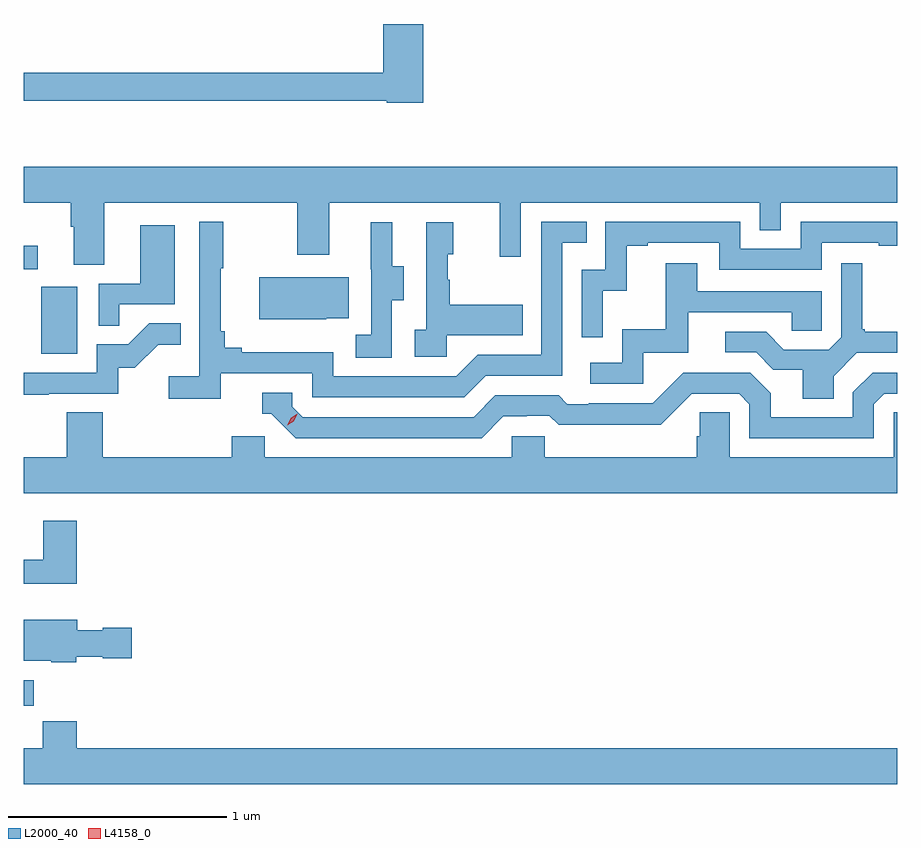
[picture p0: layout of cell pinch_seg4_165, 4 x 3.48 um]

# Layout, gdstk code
import gdstk
lib = gdstk.Library(unit=1e-6, precision=1e-09)
def R(c, l, rs):  # rectangles x0, y0, x1, y1
    for r in rs: c.add(gdstk.rectangle(r[:2], r[2:], *l))
def P(c, l, *ps):  # polygons
    for p in ps: c.add(gdstk.Polygon(p, *l))
L2000_40 = (2000, 40)
L4158_0 = (4158, 0)

pinch_seg4_165 = lib.new_cell('pinch_seg4_165')
R(pinch_seg4_165, L2000_40, [(1115.844,803.838,1115.888,803.956), (1115.924,805.452,1116.088,805.759), (1115.844,805.839,1115.908,805.945)])
P(pinch_seg4_165, L2000_40, [(1117.673,806.962),(1117.49,806.962),(1117.49,806.738),(1115.844,806.738),(1115.844,806.61),(1117.506,806.61),(1117.506,806.602),(1117.673,806.602)],
  [(1115.844,806.144),(1116.059,806.144),(1116.059,806.032),(1116.071,806.032),(1116.071,805.858),(1116.211,805.858),(1116.211,806.144),(1117.096,806.144),(1117.096,805.905),(1117.243,805.905),(1117.243,806.144),(1118.024,806.144),(1118.024,805.896),(1118.121,805.896),(1118.121,806.144),(1119.216,806.144),(1119.216,806.017),(1119.312,806.017),(1119.312,806.144),(1119.844,806.144),(1119.844,806.308),(1115.844,806.308)],
  [(1116.746,805.362),(1117.164,805.362),(1117.164,805.251),(1117.861,805.251),(1117.96,805.35),(1118.31,805.35),(1118.31,805.959),(1118.423,805.959),(1118.423,806.055),(1118.214,806.055),(1118.214,805.446),(1117.923,805.446),(1117.824,805.347),(1117.26,805.347),(1117.26,805.459),(1116.841,805.459),(1116.841,805.478),(1116.764,805.478),(1116.764,805.555),(1116.745,805.555),(1116.745,805.843),(1116.757,805.843),(1116.757,806.056),(1116.648,806.056),(1116.648,805.348),(1116.507,805.348),(1116.507,805.246),(1116.746,805.246)],
  [(1118.496,805.739),(1118.606,805.739),(1118.606,805.947),(1118.701,805.947),(1118.701,805.959),(1119.03,805.959),(1119.03,805.836),(1119.498,805.836),(1119.498,805.959),(1119.761,805.959),(1119.761,805.947),(1119.844,805.947),(1119.844,806.055),(1119.402,806.055),(1119.402,805.932),(1119.126,805.932),(1119.126,806.055),(1118.508,806.055),(1118.508,805.836),(1118.4,805.836),(1118.4,805.527),(1118.496,805.527)],
  [(1117.53,805.696),(1117.585,805.696),(1117.585,805.851),(1117.531,805.851),(1117.531,806.053),(1117.433,806.053),(1117.433,805.839),(1117.434,805.839),(1117.434,805.539),(1117.365,805.539),(1117.365,805.432),(1117.53,805.432)],
  [(1117.782,805.535),(1118.129,805.535),(1118.129,805.675),(1117.795,805.675),(1117.795,805.79),(1117.785,805.79),(1117.785,805.908),(1117.81,805.908),(1117.81,806.053),(1117.686,806.053),(1117.686,805.562),(1117.635,805.562),(1117.635,805.437),(1117.782,805.437)],
  [(1116.281,805.677),(1116.535,805.677),(1116.535,806.041),(1116.377,806.041),(1116.377,805.773),(1116.186,805.773),(1116.186,805.579),(1116.281,805.579)],
  [(1119.553,805.348),(1119.66,805.455),(1119.844,805.455),(1119.844,805.552),(1119.697,805.552),(1119.697,805.564),(1119.685,805.564),(1119.685,805.867),(1119.588,805.867),(1119.588,805.527),(1119.531,805.47),(1119.325,805.47),(1119.244,805.551),(1119.057,805.551),(1119.057,805.458),(1119.198,805.458),(1119.278,805.378),(1119.413,805.378),(1119.413,805.246),(1119.553,805.246)],
  [(1118.682,805.455),(1118.887,805.455),(1118.887,805.641),(1119.361,805.641),(1119.361,805.557),(1119.498,805.557),(1119.498,805.737),(1118.929,805.737),(1118.929,805.867),(1118.785,805.867),(1118.785,805.564),(1118.586,805.564),(1118.586,805.41),(1118.439,805.41),(1118.439,805.314),(1118.682,805.314)],
  [(1117.229,805.613),(1117.331,805.613),(1117.331,805.801),(1116.923,805.801),(1116.923,805.61),(1117.229,805.61)],
  [(1115.957,805.269),(1116.276,805.269),(1116.276,805.386),(1116.352,805.386),(1116.459,805.493),(1116.563,805.493),(1116.563,805.592),(1116.419,805.592),(1116.321,805.494),(1116.177,805.494),(1116.177,805.365),(1115.844,805.365),(1115.844,805.264),(1115.957,805.264)],
  [(1118.041,805.164),(1118.148,805.164),(1118.148,805.167),(1118.251,805.167),(1118.293,805.125),(1118.526,805.125),(1118.526,805.127),(1118.762,805.127),(1118.904,805.269),(1119.12,805.269),(1119.168,805.221),(1119.168,805.065),(1119.738,805.065),(1119.738,805.221),(1119.786,805.269),(1119.844,805.269),(1119.844,805.365),(1119.732,805.365),(1119.642,805.275),(1119.642,805.161),(1119.265,805.161),(1119.265,805.271),(1119.171,805.365),(1118.865,805.365),(1118.724,805.224),(1118.431,805.224),(1118.431,805.221),(1118.332,805.221),(1118.293,805.26),(1118.004,805.26),(1117.905,805.161),(1117.122,805.161),(1117.074,805.209),(1117.074,805.272),(1116.935,805.272),(1116.935,805.176),(1116.978,805.176),(1117.089,805.065),(1117.942,805.065)],
  [(1119.844,805.184),(1119.828,805.184),(1119.828,804.976),(1119.078,804.976),(1119.078,805.184),(1118.941,805.184),(1118.941,805.074),(1118.927,805.074),(1118.927,804.976),(1118.229,804.976),(1118.229,805.074),(1118.079,805.074),(1118.079,804.976),(1116.948,804.976),(1116.948,805.074),(1116.797,805.074),(1116.797,804.976),(1116.206,804.976),(1116.206,805.184),(1116.041,805.184),(1116.041,804.976),(1115.844,804.976),(1115.844,804.812),(1119.844,804.812)],
  [(1116.086,804.685),(1115.933,804.685),(1115.933,804.508),(1115.844,804.508),(1115.844,804.398),(1116.086,804.398)],
  [(1116.084,804.062),(1116.204,804.062),(1116.204,804.055),(1116.337,804.055),(1116.337,804.197),(1116.204,804.197),(1116.204,804.184),(1116.088,804.184),(1116.088,804.232),(1115.844,804.232),(1115.844,804.044),(1115.97,804.044),(1115.97,804.038),(1116.084,804.038)],
  [(1119.844,803.644),(1116.086,803.644),(1116.086,803.768),(1115.929,803.768),(1115.929,803.644),(1115.844,803.644),(1115.844,803.48),(1119.844,803.48)])
P(pinch_seg4_165, L4158_0, [(1117.05,805.123),(1117.05,805.124),(1117.066,805.156),(1117.096,805.176),(1117.097,805.176),(1117.097,805.176),(1117.081,805.143),(1117.051,805.123)])

lib.write_gds('pinch_seg4_165.gds')
